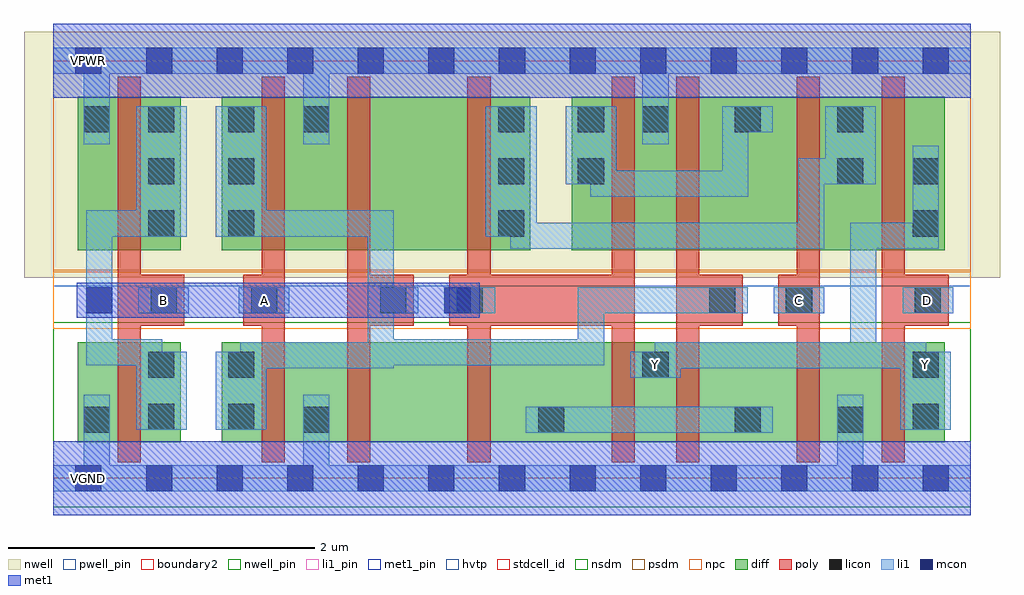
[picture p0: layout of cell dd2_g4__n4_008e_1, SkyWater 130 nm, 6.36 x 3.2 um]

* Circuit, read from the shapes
.subckt dd2_g4__n4_008e_1 A B C D VGND VNB VPB VPWR Y
XM1 n1 B VGND VNB sky130_fd_pr__nfet_01v8 w=0.65 l=0.15
XM2 VGND A n2 VNB sky130_fd_pr__nfet_01v8 w=0.65 l=0.15
XM3 n3 n2 VGND VNB sky130_fd_pr__nfet_01v8 w=0.65 l=0.15
XM4 n4 n1 n3 VNB sky130_fd_pr__nfet_01v8 w=0.65 l=0.15
XM5 Y n1 n4 VNB sky130_fd_pr__nfet_01v8 w=0.65 l=0.15
XM6 n4 n2 Y VNB sky130_fd_pr__nfet_01v8 w=0.65 l=0.15
XM7 VGND C n4 VNB sky130_fd_pr__nfet_01v8 w=0.65 l=0.15
XM8 Y D VGND VNB sky130_fd_pr__nfet_01v8 w=0.65 l=0.15
XM9 n1 B VPWR VPB sky130_fd_pr__pfet_01v8_hvt w=1 l=0.15
XM10 VPWR A n2 VPB sky130_fd_pr__pfet_01v8_hvt w=1 l=0.15
XM11 n5 n2 VPWR VPB sky130_fd_pr__pfet_01v8_hvt w=1 l=0.15
XM12 n6 n1 n5 VPB sky130_fd_pr__pfet_01v8_hvt w=1 l=0.15
XM13 VPWR n1 n7 VPB sky130_fd_pr__pfet_01v8_hvt w=1 l=0.15
XM14 n7 n2 VPWR VPB sky130_fd_pr__pfet_01v8_hvt w=1 l=0.15
XM15 n6 C n7 VPB sky130_fd_pr__pfet_01v8_hvt w=1 l=0.15
XM16 Y D n6 VPB sky130_fd_pr__pfet_01v8_hvt w=1 l=0.15
.ends

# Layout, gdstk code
import gdstk
lib = gdstk.Library(unit=1e-6, precision=1e-09)
def R(c, l, rs):  # rectangles x0, y0, x1, y1
    for r in rs: c.add(gdstk.rectangle(r[:2], r[2:], *l))
def A(c, l, x, y, w, h, nx, ny, dx, dy):  # array of equal rectangles
    R(c, l, [(x+i*dx, y+j*dy, x+i*dx+w, y+j*dy+h) for i in range(nx) for j in range(ny)])
nwell_pin = (64, 16)
nwell = (64, 20)
diff = (65, 20)
poly = (66, 20)
licon = (66, 44)
li1_pin = (67, 16)
li1 = (67, 20)
mcon = (67, 44)
met1_pin = (68, 16)
met1 = (68, 20)
hvtp = (78, 44)
stdcell_id = (81, 4)
nsdm = (93, 44)
psdm = (94, 20)
npc = (95, 20)
pwell_pin = (122, 16)
boundary2 = (236, 0)

dd2_g4__n4_008e_1 = lib.new_cell('dd2_g4__n4_008e_1')
R(dd2_g4__n4_008e_1, nwell_pin, [(0.145,2.635,0.315,2.805)])
R(dd2_g4__n4_008e_1, nwell, [(-0.19,1.305,6.17,2.91)])
R(dd2_g4__n4_008e_1, diff, [(0.16,0.235,0.83,0.885), (1.1,0.235,1.71,0.885), (1.71,0.235,2.38,0.885), (2.38,0.235,3.245,0.885), (3.245,0.235,3.925,0.885), (3.925,0.235,4.53,0.885), (4.53,0.235,5.2,0.885), (5.2,0.235,5.81,0.885), (0.16,1.485,0.83,2.485), (1.1,1.485,1.71,2.485), (1.71,1.485,2.38,2.485), (2.38,1.485,3.11,2.485), (3.38,1.485,3.925,2.485), (3.925,1.485,4.53,2.485), (4.53,1.485,5.2,2.485), (5.2,1.485,5.81,2.485)])
R(dd2_g4__n4_008e_1, poly, [(0.42,0.105,0.57,2.615), (1.36,0.105,1.51,2.615), (1.915,0.105,2.065,2.615), (2.7,0.105,2.85,2.615), (3.64,0.105,3.79,2.615), (4.06,0.105,4.21,2.615), (4.845,0.105,4.995,2.615), (5.4,0.105,5.55,2.615), (0.42,0.995,0.855,1.325), (1.24,0.995,1.51,1.325), (1.915,0.995,2.35,1.325), (2.58,0.995,2.85,1.325), (2.7,0.995,3.79,1.325), (4.06,0.995,4.495,1.325), (4.725,0.995,4.995,1.325), (5.4,0.995,5.835,1.325)])
A(dd2_g4__n4_008e_1, licon, 0.62, 1.575, 0.17, 0.17, 1, 3, 0, 0.34)
A(dd2_g4__n4_008e_1, licon, 1.14, 1.575, 0.17, 0.17, 1, 3, 0, 0.34)
A(dd2_g4__n4_008e_1, licon, 2.9, 1.575, 0.17, 0.17, 1, 3, 0, 0.34)
R(dd2_g4__n4_008e_1, licon, [(0.2,0.295,0.37,0.465), (1.63,0.295,1.8,0.465), (3.16,0.295,3.33,0.465), (4.44,0.295,4.61,0.465), (5.11,0.295,5.28,0.465), (0.62,0.315,0.79,0.485), (1.14,0.315,1.31,0.485), (5.6,0.315,5.77,0.485), (0.62,0.655,0.79,0.825), (1.14,0.655,1.31,0.825), (3.84,0.655,4.01,0.825), (5.6,0.655,5.77,0.825), (0.635,1.075,0.805,1.245), (1.29,1.075,1.46,1.245), (2.13,1.075,2.3,1.245), (2.63,1.075,2.8,1.245), (4.275,1.075,4.445,1.245), (4.775,1.075,4.945,1.245), (5.615,1.075,5.785,1.245), (5.6,1.575,5.77,1.745), (3.42,1.915,3.59,2.085), (5.11,1.915,5.28,2.085), (5.6,1.915,5.77,2.085), (0.2,2.255,0.37,2.425), (1.63,2.255,1.8,2.425), (3.42,2.255,3.59,2.425), (3.84,2.255,4.01,2.425), (4.44,2.255,4.61,2.425), (5.11,2.255,5.28,2.425)])
R(dd2_g4__n4_008e_1, li1_pin, [(3.84,0.655,4.01,0.825), (5.6,0.655,5.77,0.825), (0.635,1.075,0.805,1.245), (1.29,1.075,1.46,1.245), (4.775,1.075,4.945,1.245), (5.615,1.075,5.785,1.245)])
R(dd2_g4__n4_008e_1, li1, [(0,-0.085,5.98,0.085), (0.2,-0.085,0.37,0.545), (1.63,-0.085,1.8,0.545), (5.11,-0.085,5.28,0.545), (3.08,0.295,3.41,0.465), (3.24,0.295,4.53,0.465), (4.36,0.295,4.69,0.465), (0.54,0.315,0.87,0.825), (1.06,0.315,1.39,0.825), (5.52,0.315,5.85,0.825), (0.54,0.655,0.87,0.825), (0.54,0.655,0.71,0.905), (1.06,0.655,1.39,0.825), (1.22,0.655,1.39,0.885), (3.76,0.655,4.09,0.825), (3.92,0.655,4.09,0.885), (5.52,0.655,5.85,0.825), (5.52,0.655,5.69,0.885), (1.22,0.715,2.22,0.885), (2.05,0.715,2.22,1.245), (3.92,0.715,5.69,0.885), (5.195,0.715,5.365,1.665), (5.365,0.715,5.52,0.885), (5.365,0.715,5.52,0.885), (5.365,0.715,5.52,0.885), (5.365,0.715,5.52,0.885), (5.365,0.715,5.52,0.825), (5.365,0.715,5.52,0.825), (5.365,0.715,5.52,0.825), (5.365,0.715,5.52,0.825), (5.365,0.715,5.52,0.825), (5.365,0.715,5.52,0.825), (5.365,0.715,5.52,0.825), (5.365,0.715,5.52,0.825), (0.215,0.735,0.385,1.745), (0.215,0.735,0.71,0.905), (0.385,0.735,0.54,0.905), (0.385,0.735,0.54,0.905), (0.385,0.735,0.54,0.905), (0.385,0.735,0.54,0.905), (0.385,0.735,0.54,0.825), (0.385,0.735,0.54,0.825), (0.385,0.735,0.54,0.825), (0.385,0.735,0.54,0.825), (0.385,0.735,0.54,0.825), (0.385,0.735,0.54,0.825), (0.385,0.735,0.54,0.825), (0.385,0.735,0.54,0.825), (2.05,0.735,3.59,0.905), (3.42,0.735,3.59,1.245), (0.555,1.075,0.885,1.245), (1.21,1.075,1.54,1.245), (2.05,1.075,2.38,1.245), (2.05,1.075,2.22,1.745), (2.55,1.075,2.88,1.245), (3.42,1.075,4.365,1.245), (4.195,1.075,4.525,1.245), (4.695,1.075,5.025,1.245), (5.535,1.075,5.865,1.245), (2.98,1.495,3.15,2.425), (2.98,1.495,5.025,1.665), (4.855,1.495,5.025,2.085), (5.195,1.495,5.77,1.665), (5.6,1.495,5.77,1.825), (0.215,1.575,0.71,1.745), (0.385,1.575,0.54,1.745), (0.385,1.575,0.54,1.745), (0.385,1.575,0.54,1.745), (0.385,1.575,0.54,1.745), (0.385,1.575,0.54,1.745), (0.385,1.575,0.54,1.745), (0.385,1.575,0.54,1.745), (0.385,1.575,0.54,1.745), (0.54,1.575,0.87,1.745), (0.54,1.575,0.87,2.085), (1.06,1.575,1.39,1.745), (1.06,1.575,1.39,2.085), (1.22,1.575,2.22,1.745), (2.82,1.575,3.15,2.085), (5.6,1.575,5.77,2.165), (3.5,1.835,4.53,2.005), (3.5,1.835,3.67,2.425), (4.36,1.835,4.53,2.425), (0.54,1.915,0.87,2.425), (1.06,1.915,1.39,2.425), (2.82,1.915,3.15,2.425), (3.34,1.915,3.67,2.425), (4.855,1.915,5.2,2.085), (5.025,1.915,5.03,2.085), (5.025,1.915,5.03,2.085), (5.025,1.915,5.03,2.085), (5.025,1.915,5.03,2.085), (5.025,1.915,5.03,2.085), (5.025,1.915,5.03,2.085), (5.025,1.915,5.03,2.085), (5.025,1.915,5.03,2.085), (5.03,1.915,5.36,2.425), (5.03,1.915,5.2,2.425), (0.2,2.175,0.37,2.805), (1.63,2.175,1.8,2.805), (3.84,2.175,4.01,2.805), (2.82,2.255,3.15,2.425), (3.34,2.255,3.67,2.425), (4.36,2.255,4.69,2.425), (5.03,2.255,5.36,2.425), (0,2.635,5.98,2.805)])
A(dd2_g4__n4_008e_1, mcon, 0.145, -0.085, 0.17, 0.17, 13, 2, 0.46, 2.72)
R(dd2_g4__n4_008e_1, mcon, [(0.215,1.075,0.385,1.245), (2.55,1.075,2.72,1.245)])
R(dd2_g4__n4_008e_1, met1_pin, [(0.145,-0.085,0.315,0.085), (0.145,2.635,0.315,2.805)])
R(dd2_g4__n4_008e_1, met1, [(0,-0.24,5.98,0.24), (0.155,1.045,0.445,1.275), (0.185,1.045,2.75,1.275), (2.49,1.045,2.78,1.275), (0,2.48,5.98,2.96)])
R(dd2_g4__n4_008e_1, hvtp, [(0,1.25,5.98,2.72)])
R(dd2_g4__n4_008e_1, stdcell_id, [(0,0,5.98,2.72)])
R(dd2_g4__n4_008e_1, nsdm, [(0,-0.19,5.98,1.015)])
R(dd2_g4__n4_008e_1, psdm, [(0,1.355,5.98,2.91)])
R(dd2_g4__n4_008e_1, npc, [(0,0.975,5.98,1.345)])
R(dd2_g4__n4_008e_1, pwell_pin, [(0.145,-0.085,0.315,0.085)])
R(dd2_g4__n4_008e_1, boundary2, [(0,0,5.98,2.72)])
dd2_g4__n4_008e_1.add(gdstk.Label('A', (1.375,1.16), layer=67, texttype=5))
dd2_g4__n4_008e_1.add(gdstk.Label('B', (0.72,1.16), layer=67, texttype=5))
dd2_g4__n4_008e_1.add(gdstk.Label('C', (4.86,1.16), layer=67, texttype=5))
dd2_g4__n4_008e_1.add(gdstk.Label('D', (5.7,1.16), layer=67, texttype=5))
dd2_g4__n4_008e_1.add(gdstk.Label('Y', (3.925,0.74), layer=67, texttype=5))
dd2_g4__n4_008e_1.add(gdstk.Label('Y', (5.685,0.74), layer=67, texttype=5))
dd2_g4__n4_008e_1.add(gdstk.Label('VGND', (0.23,0), layer=68, texttype=5))
dd2_g4__n4_008e_1.add(gdstk.Label('VPWR', (0.23,2.72), layer=68, texttype=5))
dd2_g4__n4_008e_1.add(gdstk.Label('VPB', (0.23,2.72), layer=64, texttype=5))
dd2_g4__n4_008e_1.add(gdstk.Label('VNB', (0.23,0), layer=64, texttype=59))

lib.write_gds('dd2_g4__n4_008e_1.gds')
